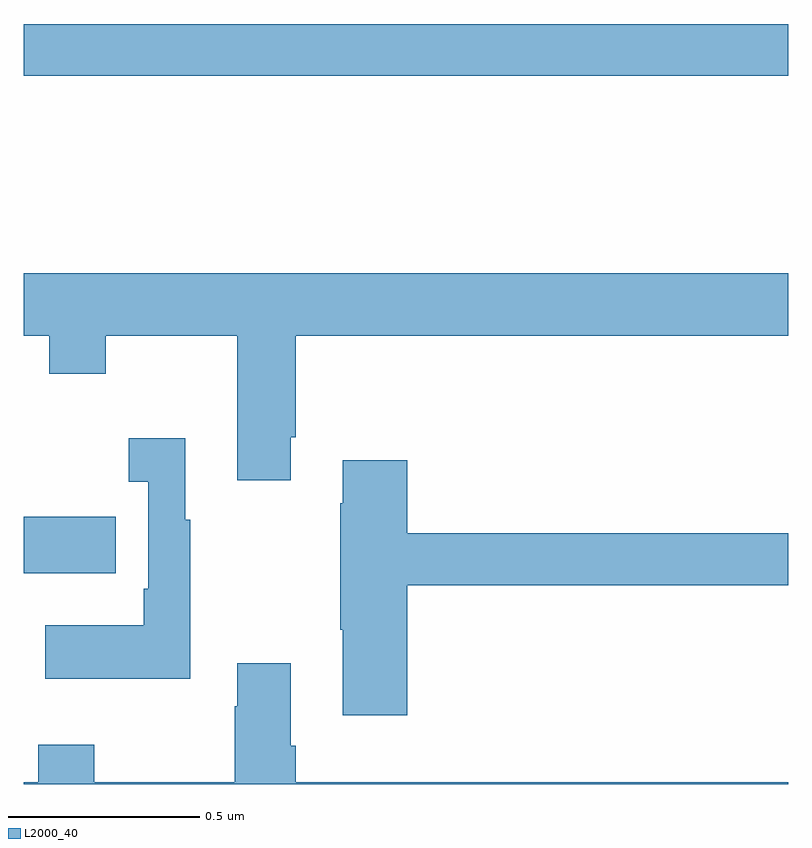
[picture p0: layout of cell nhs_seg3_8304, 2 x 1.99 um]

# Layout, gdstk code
import gdstk
lib = gdstk.Library(unit=1e-6, precision=1e-09)
def R(c, l, rs):  # rectangles x0, y0, x1, y1
    for r in rs: c.add(gdstk.rectangle(r[:2], r[2:], *l))
def P(c, l, *ps):  # polygons
    for p in ps: c.add(gdstk.Polygon(p, *l))
L2000_40 = (2000, 40)

nhs_seg3_8304 = lib.new_cell('nhs_seg3_8304')
R(nhs_seg3_8304, L2000_40, [(214,710.951,214.241,711.099), (214,712.252,216,712.388)])
P(nhs_seg3_8304, L2000_40, [(214.699,711.307),(214.712,711.307),(214.712,711.572),(216,711.572),(216,711.736),(214,711.736),(214,711.572),(214.067,711.572),(214.067,711.473),(214.215,711.473),(214.215,711.572),(214.559,711.572),(214.559,711.195),(214.699,711.195)],
  [(214.435,711.091),(214.423,711.091),(214.423,711.304),(214.275,711.304),(214.275,711.191),(214.326,711.191),(214.326,710.911),(214.314,710.911),(214.314,710.815),(214.057,710.815),(214.057,710.675),(214.435,710.675)],
  [(215.003,710.92),(216,710.92),(216,711.056),(215.003,711.056),(215.003,711.247),(214.835,711.247),(214.835,711.134),(214.828,711.134),(214.828,710.803),(214.835,710.803),(214.835,710.58),(215.003,710.58)],
  [(216,710.404),(214.712,710.404),(214.712,710.5),(214.699,710.5),(214.699,710.716),(214.559,710.716),(214.559,710.603),(214.552,710.603),(214.552,710.404),(214.185,710.404),(214.185,710.503),(214.038,710.503),(214.038,710.404),(214,710.404),(214,710.4),(216,710.4)])

lib.write_gds('nhs_seg3_8304.gds')
